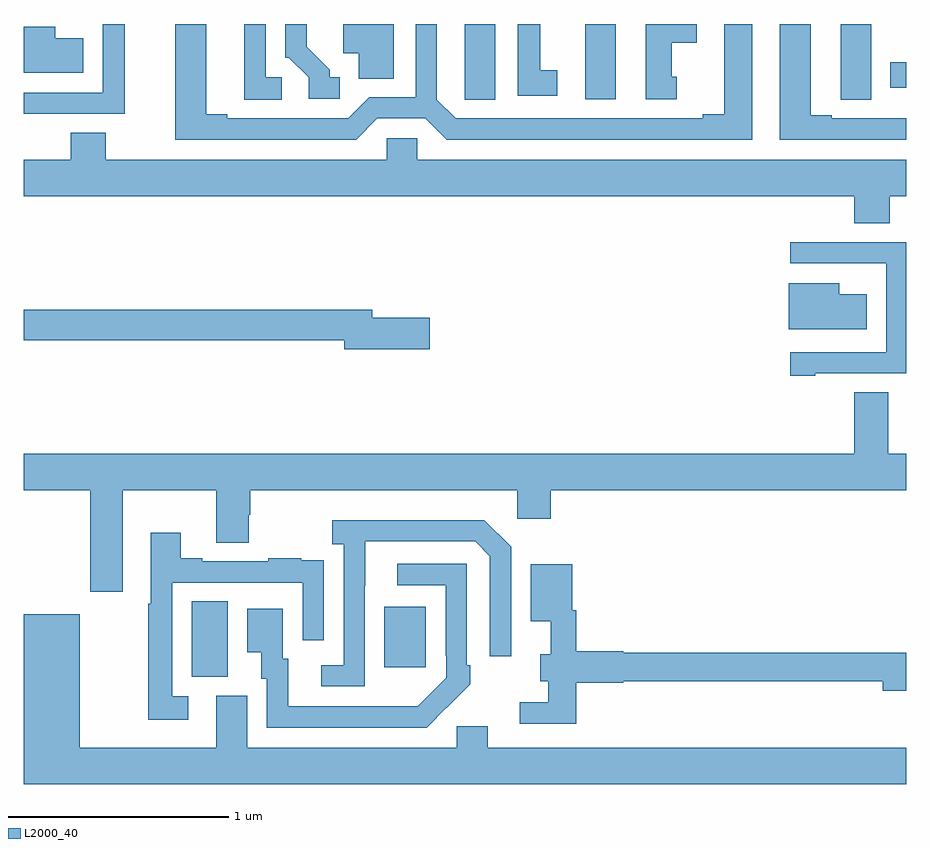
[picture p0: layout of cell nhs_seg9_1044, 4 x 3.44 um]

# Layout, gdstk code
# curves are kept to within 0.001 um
import gdstk
lib = gdstk.Library(unit=1e-6, precision=1e-09)
def R(c, l, rs):  # rectangles x0, y0, x1, y1
    for r in rs: c.add(gdstk.rectangle(r[:2], r[2:], *l))
def P(c, l, *ps):  # polygons
    for p in ps: c.add(gdstk.Polygon(p, *l))
L2000_40 = (2000, 40)

nhs_seg9_1044 = lib.new_cell('nhs_seg9_1044')
R(nhs_seg9_1044, L2000_40, [(167.762,1227.541,167.926,1227.884), (168.635,1227.585,168.823,1227.859), (169.544,1230.159,169.684,1230.5), (170.927,1230.21,171,1230.327)])
P(nhs_seg9_1044, L2000_40, [(169.138,1230.5),(168.998,1230.5),(168.998,1230.265),(168.999,1230.265),(168.999,1230.157),(169.138,1230.157)],
  [(168.676,1230.5),(168.449,1230.5),(168.449,1230.368),(168.518,1230.368),(168.518,1230.253),(168.676,1230.253)],
  [(168.603,1230.072),(168.821,1230.072),(168.917,1229.976),(170.302,1229.976),(170.302,1230.5),(170.174,1230.5),(170.174,1230.092),(170.078,1230.092),(170.078,1230.072),(168.957,1230.072),(168.873,1230.156),(168.873,1230.5),(168.777,1230.5),(168.777,1230.168),(168.567,1230.168),(168.471,1230.072),(167.923,1230.072),(167.923,1230.092),(167.827,1230.092),(167.827,1230.5),(167.687,1230.5),(167.687,1229.976),(168.507,1229.976)],
  [(171,1230.073),(170.938,1230.073),(170.938,1230.072),(170.662,1230.072),(170.662,1230.087),(170.566,1230.087),(170.566,1230.5),(170.426,1230.5),(170.426,1229.976),(171,1229.976)],
  [(169.96,1230.261),(169.936,1230.261),(169.936,1230.416),(170.05,1230.416),(170.05,1230.5),(169.82,1230.5),(169.82,1230.159),(169.96,1230.159)],
  [(168.433,1230.258),(168.388,1230.258),(168.388,1230.293),(168.283,1230.398),(168.283,1230.5),(168.186,1230.5),(168.186,1230.348),(168.201,1230.348),(168.291,1230.258),(168.291,1230.162),(168.433,1230.162)],
  [(169.417,1230.29),(169.342,1230.29),(169.342,1230.5),(169.238,1230.5),(169.238,1230.174),(169.417,1230.174)],
  [(170.842,1230.5),(170.702,1230.5),(170.702,1230.265),(170.703,1230.265),(170.703,1230.157),(170.842,1230.157)],
  [(167.457,1230.5),(167.358,1230.5),(167.358,1230.189),(167,1230.189),(167,1230.093),(167.457,1230.093)],
  [(168.169,1230.258),(168.096,1230.258),(168.096,1230.5),(167.999,1230.5),(167.999,1230.157),(168.169,1230.157)],
  [(167.269,1230.436),(167.143,1230.436),(167.143,1230.487),(167,1230.487),(167,1230.278),(167.269,1230.278)],
  [(170.925,1229.72),(171,1229.72),(171,1229.884),(168.783,1229.884),(168.783,1229.982),(168.645,1229.982),(168.645,1229.884),(167.373,1229.884),(167.373,1230.008),(167.213,1230.008),(167.213,1229.884),(167,1229.884),(167,1229.72),(170.765,1229.72),(170.765,1229.596),(170.925,1229.596)],
  [(170.587,1228.917),(171,1228.917),(171,1229.511),(170.475,1229.511),(170.475,1229.415),(170.909,1229.415),(170.909,1229.414),(170.91,1229.414),(170.91,1229.013),(170.475,1229.013),(170.475,1228.905),(170.587,1228.905)],
  [(170.821,1229.275),(170.695,1229.275),(170.695,1229.326),(170.468,1229.326),(170.468,1229.117),(170.821,1229.117)],
  [(168.841,1229.168),(168.58,1229.168),(168.58,1229.204),(167,1229.204),(167,1229.068),(168.452,1229.068),(168.452,1229.026),(168.841,1229.026)],
  [(167.449,1228.388),(167.873,1228.388),(167.873,1228.15),(168.021,1228.15),(168.021,1228.275),(168.026,1228.275),(168.026,1228.388),(169.236,1228.388),(169.236,1228.257),(169.388,1228.257),(169.388,1228.388),(171,1228.388),(171,1228.552),(170.917,1228.552),(170.917,1228.832),(170.765,1228.832),(170.765,1228.552),(167,1228.552),(167,1228.388),(167.302,1228.388),(167.302,1227.927),(167.449,1227.927)],
  [(168.546,1227.955),(168.547,1228.155),(169.047,1228.155),(169.113,1228.089),(169.113,1227.636),(169.209,1227.636),(169.209,1228.131),(169.088,1228.252),(168.399,1228.252),(168.399,1228.142),(168.45,1228.142),(168.45,1227.594),(168.348,1227.594),(168.348,1227.498),(168.546,1227.498)],
  [(167.746,1227.453),(167.673,1227.453),(167.673,1227.969),(168.264,1227.969),(168.264,1227.708),(168.36,1227.708),(168.36,1227.962),(168.359,1227.962),(168.359,1228.071),(168.257,1228.071),(168.257,1228.078),(168.109,1228.078),(168.109,1228.065),(167.809,1228.065),(167.809,1228.078),(167.713,1228.078),(167.713,1228.195),(167.577,1228.195),(167.577,1227.872),(167.565,1227.872),(167.565,1227.348),(167.746,1227.348)],
  [(168.917,1227.403),(168.918,1227.402),(169.023,1227.507),(169.023,1227.595),(169.008,1227.595),(169.008,1228.053),(168.693,1228.053),(168.693,1227.957),(168.912,1227.957),(168.912,1227.637),(168.915,1227.637),(168.915,1227.537),(168.787,1227.409),(168.199,1227.408),(168.199,1227.624),(168.175,1227.624),(168.175,1227.85),(168.014,1227.85),(168.014,1227.653),(168.077,1227.653),(168.077,1227.534),(168.102,1227.534),(168.102,1227.312),(168.826,1227.312)],
  [(169.505,1227.514),(169.716,1227.514),(169.716,1227.522),(170.894,1227.522),(170.894,1227.479),(171,1227.479),(171,1227.65),(169.716,1227.65),(169.716,1227.658),(169.505,1227.658),(169.505,1227.843),(169.486,1227.843),(169.486,1228.051),(169.298,1228.051),(169.298,1227.794),(169.388,1227.794),(169.388,1227.643),(169.34,1227.643),(169.34,1227.521),(169.377,1227.521),(169.377,1227.426),(169.248,1227.426),(169.248,1227.33),(169.505,1227.33)],
  [(171,1227.22),(169.102,1227.22),(169.102,1227.318),(168.963,1227.318),(168.963,1227.22),(168.013,1227.22),(168.013,1227.456),(167.873,1227.456),(167.873,1227.22),(167.254,1227.22),(167.254,1227.826),(167,1227.826),(167,1227.056),(171,1227.056)])

lib.write_gds('nhs_seg9_1044.gds')
